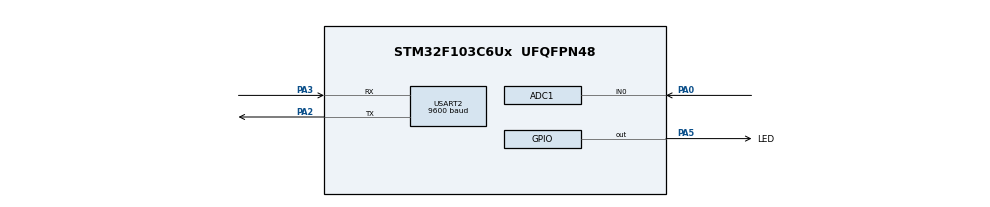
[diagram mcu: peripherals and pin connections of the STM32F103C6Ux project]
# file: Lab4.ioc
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ADC1.Channel-0\#ChannelRegularConversion=ADC_CHANNEL_0
ADC1.ContinuousConvMode=ENABLE
ADC1.NbrOfConversionFlag=1
ADC1.Rank-0\#ChannelRegularConversion=1
ADC1.SamplingTime-0\#ChannelRegularConversion=ADC_SAMPLETIME_1CYCLE_5
ADC1.master=1
Mcu.Family=STM32F1
Mcu.Name=STM32F103C6Ux
Mcu.Package=UFQFPN48
NVIC.ADC1_2_IRQn=true\:0\:0\:false\:false\:true\:true\:true
NVIC.PriorityGroup=NVIC_PRIORITYGROUP_4
NVIC.TIM2_IRQn=true\:0\:0\:false\:false\:true\:true\:true
NVIC.USART2_IRQn=true\:0\:0\:false\:false\:true\:true\:true
PA0-WKUP.Signal=ADCx_IN0
PA2.Mode=Asynchronous
PA2.Signal=USART2_TX
PA3.Mode=Asynchronous
PA3.Signal=USART2_RX
PA5.GPIO_Label=LED
PA5.Signal=GPIO_Output
PA6.Signal=S_TIM3_CH1
ProjectManager.HeapSize=0x200
ProjectManager.StackSize=0x400
ProjectManager.TargetToolchain=STM32CubeIDE
RCC.APB1Freq_Value=8000000
RCC.APB2Freq_Value=8000000
SH.ADCx_IN0.0=ADC1_IN0,IN0
SH.S_TIM3_CH1.0=TIM3_CH1
TIM2.Period=9
TIM2.Prescaler=7999
USART2.BaudRate=9600
USART2.VirtualMode=VM_ASYNC
VP_SYS_VS_ND.Mode=No_Debug
VP_TIM2_VS_ClockSourceINT.Mode=Internal
board=custom

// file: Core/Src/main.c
/* USER CODE BEGIN Header */
/**
  ******************************************************************************
  * @file           : main.c
  * @brief          : Main program body
  ******************************************************************************
  * @attention
  *
  * <h2><center>&copy; Copyright (c) 2023 STMicroelectronics.
  * All rights reserved.</center></h2>
  *
  * This software component is licensed by ST under BSD 3-Clause license,
  * the "License"; You may not use this file except in compliance with the
  * License. You may obtain a copy of the License at:
  *                        opensource.org/licenses/BSD-3-Clause
  *
  ******************************************************************************
  */
/* USER CODE END Header */
#include "main.h"

/* USER CODE BEGIN Includes */
#include "fsm.h"
#include "softwaretimer.h"
/* USER CODE END Includes */

ADC_HandleTypeDef hadc1;

TIM_HandleTypeDef htim2;

UART_HandleTypeDef huart2;

void SystemClock_Config(void);
static void MX_GPIO_Init(void);
static void MX_ADC1_Init(void);
static void MX_USART2_UART_Init(void);
static void MX_TIM2_Init(void);

/* USER CODE BEGIN 0 */
//#define MAX_BUFFER_SIZE  30
//uint8_t temp = 0;
//uint8_t buffer[MAX_BUFFER_SIZE];
//uint8_t index_buffer = 0;
//uint8_t buffer_flag = 0;
void HAL_UART_RxCpltCallback(UART_HandleTypeDef *huart){
	if(huart->Instance == USART2){

		HAL_UART_Transmit(&huart2, &temp, 1, 50);
		buffer[index_buffer++] = temp;

		if(index_buffer == 30) index_buffer = 0;
		buffer_flag = 1;
		HAL_UART_Receive_IT(&huart2, &temp, 1);

	}
}
//uint32_t GetCommandData(){
//	return HAL_ADC_GetValue(&hadc1);
//}
/* USER CODE END 0 */

int main(void)
{

  /* MCU Configuration--------------------------------------------------------*/

  /* Reset of all peripherals, Initializes the Flash interface and the Systick. */
  HAL_Init();

  /* Configure the system clock */
  SystemClock_Config();

  /* Initialize all configured peripherals */
  MX_GPIO_Init();
  MX_ADC1_Init();
  MX_USART2_UART_Init();
  MX_TIM2_Init();
  /* USER CODE BEGIN 2 */

  HAL_UART_Receive_IT(&huart2, &temp, 1);
  HAL_TIM_Base_Start_IT(&htim2);
  setTimer1(100);
  setTimer2(100);
  HAL_ADC_Start(&hadc1);
  /* USER CODE END 2 */

  /* Infinite loop */
  /* USER CODE BEGIN WHILE */
//  uint32_t ADC_value = 0;
  while (1)
  {
    /* USER CODE END WHILE */

    /* USER CODE BEGIN 3 */
//	  if(timerflag1 == 1){
//		  HAL_GPIO_TogglePin(LED_GPIO_Port, LED_Pin);
//		  setTimer1(100);
//	  }
	  ADC_Value = HAL_ADC_GetValue(&hadc1);
	  if(buffer_flag == 1){
		  command_parser_fsm();
	      buffer_flag = 0;
	  }
	  uart_communication_fsm();
  }
  /* USER CODE END 3 */
}

void SystemClock_Config(void)
{
  RCC_OscInitTypeDef RCC_OscInitStruct = {0};
  RCC_ClkInitTypeDef RCC_ClkInitStruct = {0};
  RCC_PeriphCLKInitTypeDef PeriphClkInit = {0};

  /** Initializes the RCC Oscillators according to the specified parameters
  * in the RCC_OscInitTypeDef structure.
  */
  RCC_OscInitStruct.OscillatorType = RCC_OSCILLATORTYPE_HSI;
  RCC_OscInitStruct.HSIState = RCC_HSI_ON;
  RCC_OscInitStruct.HSICalibrationValue = RCC_HSICALIBRATION_DEFAULT;
  RCC_OscInitStruct.PLL.PLLState = RCC_PLL_NONE;
  if (HAL_RCC_OscConfig(&RCC_OscInitStruct) != HAL_OK)
  {
    Error_Handler();
  }
  /** Initializes the CPU, AHB and APB buses clocks
  */
  RCC_ClkInitStruct.ClockType = RCC_CLOCKTYPE_HCLK|RCC_CLOCKTYPE_SYSCLK
                              |RCC_CLOCKTYPE_PCLK1|RCC_CLOCKTYPE_PCLK2;
  RCC_ClkInitStruct.SYSCLKSource = RCC_SYSCLKSOURCE_HSI;
  RCC_ClkInitStruct.AHBCLKDivider = RCC_SYSCLK_DIV1;
  RCC_ClkInitStruct.APB1CLKDivider = RCC_HCLK_DIV1;
  RCC_ClkInitStruct.APB2CLKDivider = RCC_HCLK_DIV1;

  if (HAL_RCC_ClockConfig(&RCC_ClkInitStruct, FLASH_LATENCY_0) != HAL_OK)
  {
    Error_Handler();
  }
  PeriphClkInit.PeriphClockSelection = RCC_PERIPHCLK_ADC;
  PeriphClkInit.AdcClockSelection = RCC_ADCPCLK2_DIV2;
  if (HAL_RCCEx_PeriphCLKConfig(&PeriphClkInit) != HAL_OK)
  {
    Error_Handler();
  }
}

static void MX_ADC1_Init(void)
{

  ADC_ChannelConfTypeDef sConfig = {0};

  /** Common config
  */
  hadc1.Instance = ADC1;
  hadc1.Init.ScanConvMode = ADC_SCAN_DISABLE;
  hadc1.Init.ContinuousConvMode = ENABLE;
  hadc1.Init.DiscontinuousConvMode = DISABLE;
  hadc1.Init.ExternalTrigConv = ADC_SOFTWARE_START;
  hadc1.Init.DataAlign = ADC_DATAALIGN_RIGHT;
  hadc1.Init.NbrOfConversion = 1;
  if (HAL_ADC_Init(&hadc1) != HAL_OK)
  {
    Error_Handler();
  }
  /** Configure Regular Channel
  */
  sConfig.Channel = ADC_CHANNEL_0;
  sConfig.Rank = ADC_REGULAR_RANK_1;
  sConfig.SamplingTime = ADC_SAMPLETIME_1CYCLE_5;
  if (HAL_ADC_ConfigChannel(&hadc1, &sConfig) != HAL_OK)
  {
    Error_Handler();
  }

}

static void MX_TIM2_Init(void)
{

  TIM_ClockConfigTypeDef sClockSourceConfig = {0};
  TIM_MasterConfigTypeDef sMasterConfig = {0};

  htim2.Instance = TIM2;
  htim2.Init.Prescaler = 7999;
  htim2.Init.CounterMode = TIM_COUNTERMODE_UP;
  htim2.Init.Period = 9;
  htim2.Init.ClockDivision = TIM_CLOCKDIVISION_DIV1;
  htim2.Init.AutoReloadPreload = TIM_AUTORELOAD_PRELOAD_DISABLE;
  if (HAL_TIM_Base_Init(&htim2) != HAL_OK)
  {
    Error_Handler();
  }
  sClockSourceConfig.ClockSource = TIM_CLOCKSOURCE_INTERNAL;
  if (HAL_TIM_ConfigClockSource(&htim2, &sClockSourceConfig) != HAL_OK)
  {
    Error_Handler();
  }
  sMasterConfig.MasterOutputTrigger = TIM_TRGO_RESET;
  sMasterConfig.MasterSlaveMode = TIM_MASTERSLAVEMODE_DISABLE;
  if (HAL_TIMEx_MasterConfigSynchronization(&htim2, &sMasterConfig) != HAL_OK)
  {
    Error_Handler();
  }

}

static void MX_USART2_UART_Init(void)
{

  huart2.Instance = USART2;
  huart2.Init.BaudRate = 9600;
  huart2.Init.WordLength = UART_WORDLENGTH_8B;
  huart2.Init.StopBits = UART_STOPBITS_1;
  huart2.Init.Parity = UART_PARITY_NONE;
  huart2.Init.Mode = UART_MODE_TX_RX;
  huart2.Init.HwFlowCtl = UART_HWCONTROL_NONE;
  huart2.Init.OverSampling = UART_OVERSAMPLING_16;
  if (HAL_UART_Init(&huart2) != HAL_OK)
  {
    Error_Handler();
  }

}

static void MX_GPIO_Init(void)
{
  GPIO_InitTypeDef GPIO_InitStruct = {0};

  /* GPIO Ports Clock Enable */
  __HAL_RCC_GPIOA_CLK_ENABLE();

  /*Configure GPIO pin Output Level */
  HAL_GPIO_WritePin(LED_GPIO_Port, LED_Pin, GPIO_PIN_RESET);

  /*Configure GPIO pin : LED_Pin */
  GPIO_InitStruct.Pin = LED_Pin;
  GPIO_InitStruct.Mode = GPIO_MODE_OUTPUT_PP;
  GPIO_InitStruct.Pull = GPIO_NOPULL;
  GPIO_InitStruct.Speed = GPIO_SPEED_FREQ_LOW;
  HAL_GPIO_Init(LED_GPIO_Port, &GPIO_InitStruct);

  /*Configure GPIO pin : PA6 */
  GPIO_InitStruct.Pin = GPIO_PIN_6;
  GPIO_InitStruct.Mode = GPIO_MODE_AF_PP;
  GPIO_InitStruct.Speed = GPIO_SPEED_FREQ_LOW;
  HAL_GPIO_Init(GPIOA, &GPIO_InitStruct);

}

/* USER CODE BEGIN 4 */
void HAL_TIM_PeriodElapsedCallback(TIM_HandleTypeDef *htim){
	timerRun();
}
/* USER CODE END 4 */

void Error_Handler(void)
{
  __disable_irq();
  while (1)
  {
  }
}

/************************ (C) COPYRIGHT STMicroelectronics *****END OF FILE****/
